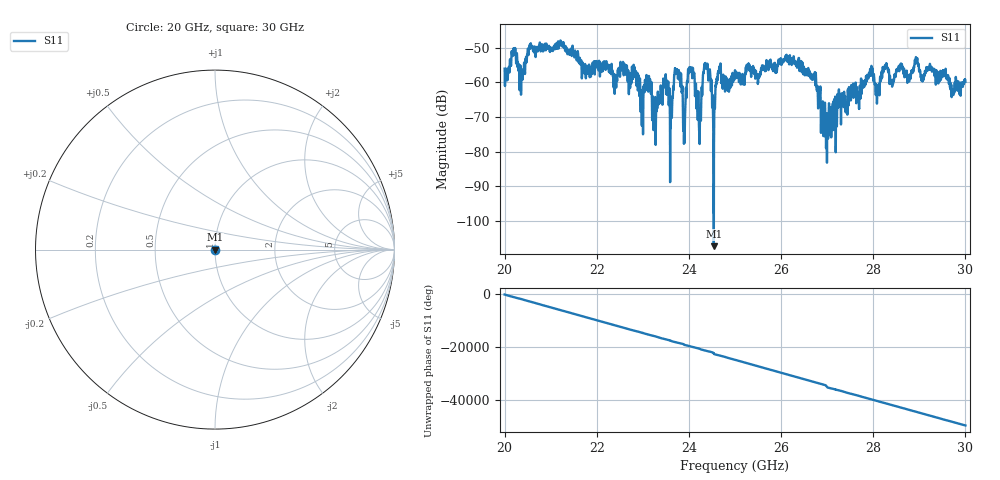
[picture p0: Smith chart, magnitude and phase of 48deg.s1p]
#  HZ  S  RI  R  50.00
! Rohde & Schwarz ZVA40 4Ports - Version 3.90 - 1145.1110k42 SN: 100403
! Date: 2023-10-03 10:45:33
! Measurement: S12
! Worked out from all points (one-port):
!   5001 points, 20 GHz to 30 GHz, reference 50 ohm
!   lowest |S11| = -107.3 dB at 24.54 GHz (marker M1), VSWR 1.00, Z = 50 - j0.000196 ohm
!   |S11| at or under -10 dB: start of sweep to end of sweep
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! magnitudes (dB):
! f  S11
! 20 GHz  -56.0
! 21.25 GHz  -49.5
! 21.72 GHz  -55.3
! 22.5 GHz  -56.7
! 22.84 GHz  -58.5
! 22.99 GHz  -65.1
! 23.12 GHz  -62.4
! 23.25 GHz  -70.5
! 23.49 GHz  -58.7
! 23.61 GHz  -67.9
! 23.75 GHz  -56.6
! 23.9 GHz  -71.7
! 24.07 GHz  -58.8
! 24.21 GHz  -69.7
! 24.37 GHz  -55.7
! 24.54 GHz  -107.3
! 24.65 GHz  -56.7
! 25 GHz  -56.5
! 26.25 GHz  -53.4
! 26.71 GHz  -58.1
! 27.01 GHz  -69.1
! 27.5 GHz  -63.9
! 27.95 GHz  -58.0
! 28.09 GHz  -61.0
! 28.25 GHz  -55.1
! 28.75 GHz  -59.1
! 28.94 GHz  -54.1
! 30 GHz  -59.8
